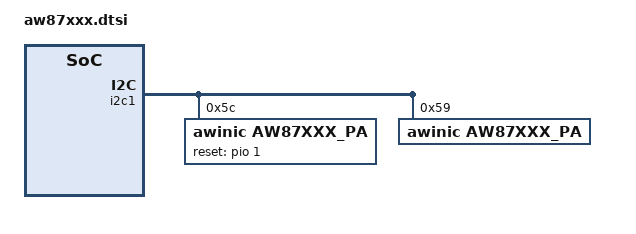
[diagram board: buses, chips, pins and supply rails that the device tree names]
/*mono dtsi config*/
&i2c1 {
/* AWINIC AW87XXX Smart K PA */
	aw87xxx_pa@5C {
		compatible = "awinic,aw87xxx_pa";
		reg = <0x5C>;
		reset-gpio = <&pio 1 0>;
		dev_index = < 0 >;
		status = "okay";
	};
/* AWINIC AW87XXX Smart K PA End */
};

/*stereo dtsi config*/
&i2c1 {
/* AWINIC AW87XXX Smart K PA */
	aw87xxx_pa@5C {
		compatible = "awinic,aw87xxx_pa";
		reg = <0x5C>;
		reset-gpio = <&pio 1 0>;
		dev_index = < 0 >;
		status = "okay";
	};

	aw87xxx_pa@59 {
		compatible = "awinic,aw87xxx_pa";
		reg = <0x59>;
	/*	reset-gpio = <&pio 7 0>;*/
		dev_index = < 1 >;
		status = "okay";
	};
/* AWINIC AW87XXX Smart K PA End */
};
